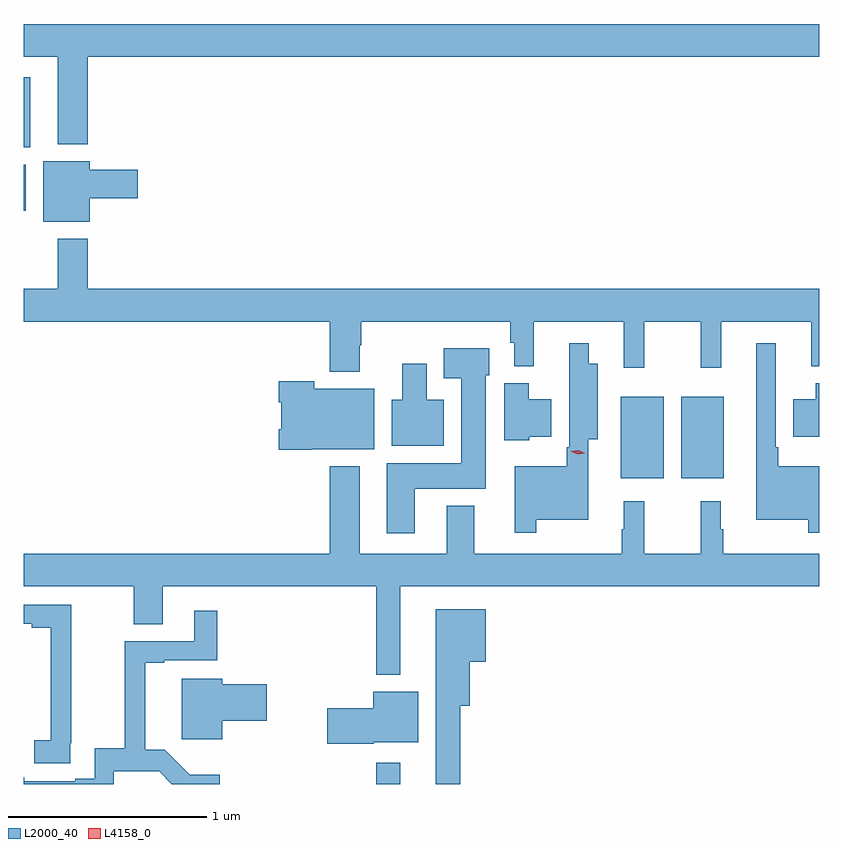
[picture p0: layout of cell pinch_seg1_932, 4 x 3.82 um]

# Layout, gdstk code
import gdstk
lib = gdstk.Library(unit=1e-6, precision=1e-09)
def R(c, l, rs):  # rectangles x0, y0, x1, y1
    for r in rs: c.add(gdstk.rectangle(r[:2], r[2:], *l))
def P(c, l, *ps):  # polygons
    for p in ps: c.add(gdstk.Polygon(p, *l))
L2000_40 = (2000, 40)
L4158_0 = (4158, 0)

pinch_seg1_932 = lib.new_cell('pinch_seg1_932')
R(pinch_seg1_932, L2000_40, [(120.534,529.427,120.655,529.534), (121.763,530.963,121.978,531.373), (122.066,530.963,122.281,531.373), (118.761,532.31,118.771,532.54), (118.761,532.628,118.795,532.981)])
P(pinch_seg1_932, L2000_40, [(119.084,533.084),(122.761,533.084),(122.761,533.248),(118.761,533.248),(118.761,533.084),(118.931,533.084),(118.931,532.643),(119.084,532.643)],
  [(119.092,532.372),(119.335,532.372),(119.335,532.514),(119.092,532.514),(119.092,532.558),(118.859,532.558),(118.859,532.253),(119.092,532.253)],
  [(120.451,531.632),(120.459,531.632),(120.459,531.752),(121.207,531.752),(121.207,531.645),(121.227,531.645),(121.227,531.527),(121.325,531.527),(121.325,531.752),(121.778,531.752),(121.778,531.519),(121.88,531.519),(121.88,531.752),(122.164,531.752),(122.164,531.519),(122.267,531.519),(122.267,531.752),(122.72,531.752),(122.72,531.527),(122.761,531.527),(122.761,531.916),(119.084,531.916),(119.084,532.168),(118.931,532.168),(118.931,531.916),(118.761,531.916),(118.761,531.752),(120.299,531.752),(120.299,531.5),(120.451,531.5)],
  [(122.761,531.025),(122.554,531.025),(122.554,531.121),(122.541,531.121),(122.541,531.643),(122.444,531.643),(122.444,530.756),(122.706,530.756),(122.706,530.691),(122.761,530.691)],
  [(121.339,530.756),(121.6,530.756),(121.6,531.161),(121.648,531.161),(121.648,531.541),(121.601,531.541),(121.601,531.643),(121.503,531.643),(121.503,531.121),(121.491,531.121),(121.491,531.025),(121.23,531.025),(121.23,530.691),(121.339,530.691)],
  [(120.727,530.912),(121.084,530.912),(121.084,531.483),(121.101,531.483),(121.101,531.619),(120.872,531.619),(120.872,531.467),(120.962,531.467),(120.962,531.04),(120.587,531.04),(120.587,530.688),(120.727,530.688)],
  [(120.874,531.358),(120.787,531.358),(120.787,531.541),(120.665,531.541),(120.665,531.358),(120.611,531.358),(120.611,531.128),(120.874,531.128)],
  [(120.21,531.11),(120.523,531.11),(120.523,531.415),(120.222,531.415),(120.222,531.451),(120.044,531.451),(120.044,531.347),(120.056,531.347),(120.056,531.211),(120.044,531.211),(120.044,531.107),(120.21,531.107)],
  [(121.302,531.173),(121.414,531.173),(121.414,531.361),(121.3,531.361),(121.3,531.442),(121.178,531.442),(121.178,531.155),(121.302,531.155)],
  [(122.761,531.442),(122.744,531.442),(122.744,531.361),(122.63,531.361),(122.63,531.173),(122.761,531.173)],
  [(120.451,531.025),(120.299,531.025),(120.299,530.584),(118.761,530.584),(118.761,530.42),(119.314,530.42),(119.314,530.23),(119.461,530.23),(119.461,530.42),(120.534,530.42),(120.534,529.976),(120.655,529.976),(120.655,530.42),(122.761,530.42),(122.761,530.584),(122.278,530.584),(122.278,530.708),(122.266,530.708),(122.266,530.848),(122.164,530.848),(122.164,530.584),(121.88,530.584),(121.88,530.848),(121.778,530.848),(121.778,530.708),(121.767,530.708),(121.767,530.584),(121.027,530.584),(121.027,530.827),(120.887,530.827),(120.887,530.584),(120.451,530.584)],
  [(118.994,529.633),(119,529.633),(119,530.328),(118.761,530.328),(118.761,530.232),(118.802,530.232),(118.802,530.212),(118.898,530.212),(118.898,529.929),(118.897,529.929),(118.897,529.646),(118.815,529.646),(118.815,529.531),(118.994,529.531)],
  [(120.955,529.82),(121.004,529.82),(121.004,530.042),(121.084,530.042),(121.084,530.305),(120.833,530.305),(120.833,529.427),(120.955,529.427)],
  [(119.214,529.49),(119.443,529.49),(119.506,529.427),(119.746,529.427),(119.746,529.474),(119.597,529.474),(119.471,529.6),(119.372,529.6),(119.372,530.037),(119.467,530.037),(119.467,530.049),(119.735,530.049),(119.735,530.299),(119.618,530.299),(119.618,530.145),(119.269,530.145),(119.269,529.607),(119.118,529.607),(119.118,529.454),(119.021,529.454),(119.021,529.44),(118.765,529.44),(118.765,529.46),(118.761,529.46),(118.761,529.427),(119.214,529.427)],
  [(119.758,529.745),(119.983,529.745),(119.983,529.928),(119.758,529.928),(119.758,529.957),(119.555,529.957),(119.555,529.652),(119.758,529.652)],
  [(120.522,529.637),(120.745,529.637),(120.745,529.891),(120.518,529.891),(120.518,529.808),(120.288,529.808),(120.288,529.63),(120.522,529.63)])
P(pinch_seg1_932, L4158_0, [(121.546,531.085),(121.512,531.099),(121.512,531.099),(121.512,531.1),(121.549,531.105),(121.583,531.091),(121.583,531.091),(121.583,531.09)])

lib.write_gds('pinch_seg1_932.gds')
